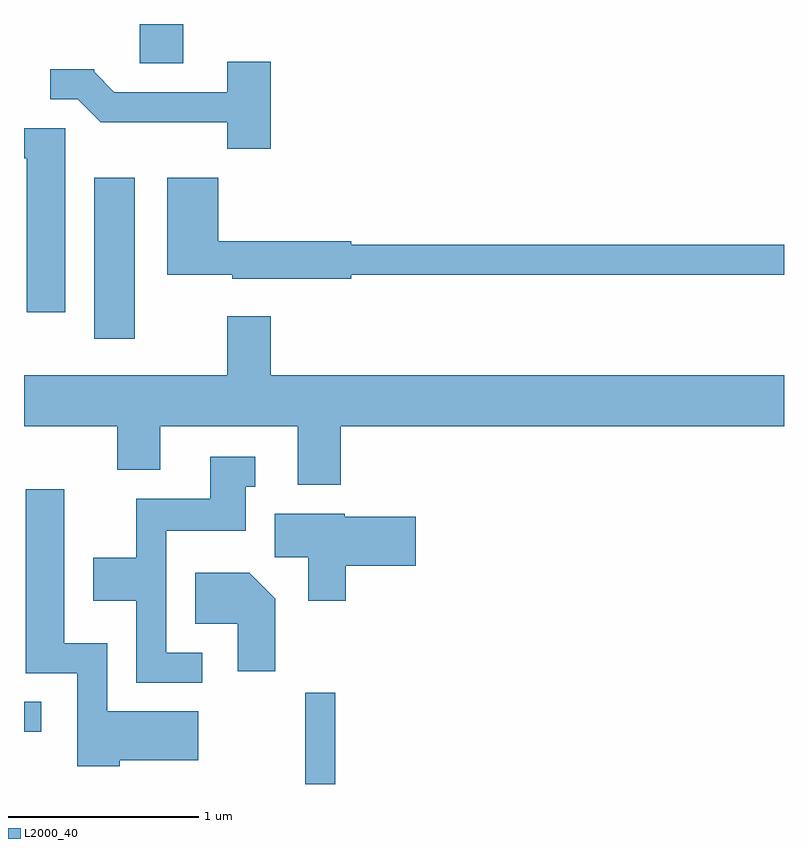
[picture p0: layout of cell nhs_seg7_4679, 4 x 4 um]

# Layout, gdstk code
import gdstk
lib = gdstk.Library(unit=1e-6, precision=1e-09)
def R(c, l, rs):  # rectangles x0, y0, x1, y1
    for r in rs: c.add(gdstk.rectangle(r[:2], r[2:], *l))
def P(c, l, *ps):  # polygons
    for p in ps: c.add(gdstk.Polygon(p, *l))
L2000_40 = (2000, 40)

nhs_seg7_4679 = lib.new_cell('nhs_seg7_4679')
R(nhs_seg7_4679, L2000_40, [(331.091,1670.252,331.249,1670.733), (329.611,1670.526,329.703,1670.684), (329.981,1672.596,330.194,1673.444), (330.221,1674.046,330.449,1674.252)])
P(nhs_seg7_4679, L2000_40, [(330.909,1674.054),(330.681,1674.054),(330.681,1673.894),(330.087,1673.894),(329.98,1674.001),(329.98,1674.014),(329.748,1674.014),(329.748,1673.856),(329.894,1673.856),(330.014,1673.736),(330.681,1673.736),(330.681,1673.596),(330.909,1673.596)],
  [(329.829,1673.704),(329.611,1673.704),(329.611,1673.546),(329.626,1673.546),(329.626,1672.736),(329.829,1672.736)],
  [(331.334,1672.931),(333.611,1672.931),(333.611,1673.089),(331.334,1673.089),(331.334,1673.109),(330.634,1673.109),(330.634,1673.444),(330.366,1673.444),(330.366,1672.931),(330.706,1672.931),(330.706,1672.911),(331.334,1672.911)],
  [(331.279,1672.136),(333.611,1672.136),(333.611,1672.404),(330.909,1672.404),(330.909,1672.714),(330.681,1672.714),(330.681,1672.404),(329.611,1672.404),(329.611,1672.136),(330.101,1672.136),(330.101,1671.906),(330.329,1671.906),(330.329,1672.136),(331.051,1672.136),(331.051,1671.826),(331.279,1671.826)],
  [(330.548,1670.944),(330.359,1670.944),(330.359,1671.586),(330.779,1671.586),(330.779,1671.816),(330.828,1671.816),(330.828,1671.974),(330.591,1671.974),(330.591,1671.754),(330.201,1671.754),(330.201,1671.444),(329.976,1671.444),(329.976,1671.216),(330.201,1671.216),(330.201,1670.786),(330.548,1670.786)],
  [(330.114,1670.376),(330.529,1670.376),(330.529,1670.634),(330.049,1670.634),(330.049,1670.994),(329.824,1670.994),(329.824,1671.804),(329.621,1671.804),(329.621,1670.836),(329.891,1670.836),(329.891,1670.346),(330.114,1670.346)],
  [(331.304,1671.401),(331.674,1671.401),(331.674,1671.659),(331.3,1671.659),(331.3,1671.674),(330.931,1671.674),(330.931,1671.446),(331.106,1671.446),(331.106,1671.216),(331.304,1671.216)],
  [(330.934,1671.227),(330.797,1671.364),(330.511,1671.364),(330.511,1671.096),(330.736,1671.096),(330.736,1670.846),(330.934,1670.846)])

lib.write_gds('nhs_seg7_4679.gds')
